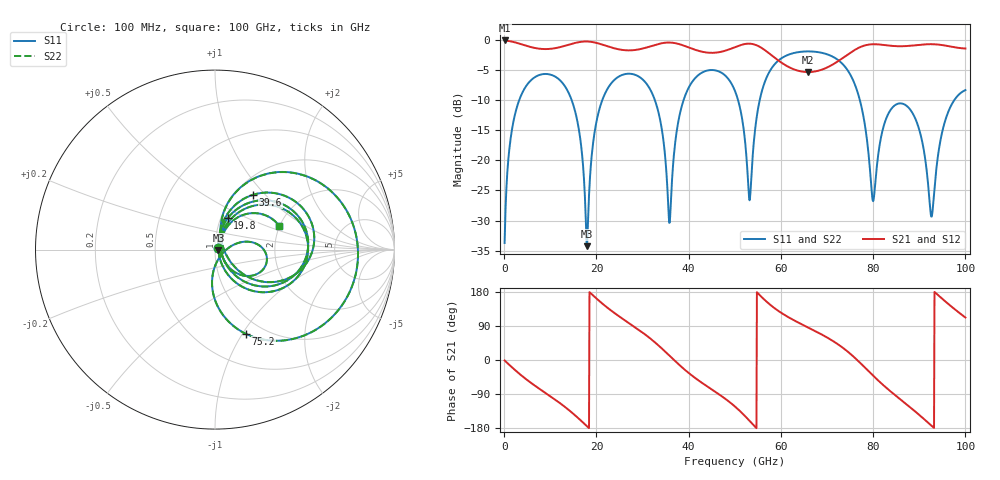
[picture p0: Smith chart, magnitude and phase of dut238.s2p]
! Touchstone file exported from HFSS 2026.1.0
!  File:  C:/ffzhzh/LocalFiles/Ansys_Project_Files/temp_train_TSV_RDL_238_1783666631_26216.aedt
!  Generated:  03:08:26 PM Jul 10, 2026
!  Design:  TSV_RDL
!  Project:  temp_train_TSV_RDL_238_1783666631_26216
! Variables:
!  h_bsmrdl = 4.98um
!  h_ox = 20um
!  h_rdl = 5um
!  h_sub = 51.48um
!  h_tmrdl = 2.28um
!  h_tsv = 51.48um
!  h_via = 3um
!  l_bsmrdl = 130.33um
!  l_sub = 3507.93um
!  l_tmrdl = 637.19um
!  m_sub = 200um
!  pitch = 55.15um
!  r_tsv = 9.5um
!  s_tmrdl = 10um
!  w_bsmrdl = 28.72um
!  w_sub = 500um
!  w_tmrdl = 27.34um
!  x_tsv_center1 = 650.86um
!  x_tsv_center2 = 809.91um
!  x_tsv_center3 = 1474.44um
!  x_tsv_center4 = 1633.49um
!  x_tsv_center5 = 2298.02um
!  x_tsv_center6 = 2457.07um
# GHz S MA R 50.000000
! Terminal data exported
! Port[1] = TM_RDL1_1_T1
! Port[2] = TM_RDL5_1_T1
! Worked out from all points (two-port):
!   1000 points, 100 MHz to 100 GHz, reference 50 ohm
!   highest |S21| = -0.15 dB at 100 MHz (marker M1); lowest = -5.4 dB at 65.9 GHz (marker M2)
!   |S21| within 3 dB of the highest: start of sweep to 58.89 GHz; 73.23 GHz to end of sweep
!   lowest |S11| = -34.2 dB at 17.9 GHz (marker M3), VSWR 1.04, Z = 51.9 - j0.383 ohm
!   |S11| at or under -10 dB: 14.62 GHz to 21.29 GHz (6.672 GHz wide, 37.2 % of centre); 32.66 GHz to 38.91 GHz (6.254 GHz wide, 17.5 % of centre); 77.11 GHz to 97.62 GHz (20.52 GHz wide, 23.5 % of centre) (the widest 3 of 5)
!   |S22| runs from -34.4 to -2.0 dB; largest |S21 - S12| = 2.7e-14
!   S11 on the Smith chart (normalised r, x): 100 MHz: 1.03, +0.02; 19.8 GHz: 1.08, +0.39; 39.6 GHz: 1.21, +0.85; 75.2 GHz: 0.83, -1.04; 100 GHz: 1.99, +0.61
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0.1  0.02064 34.4  0.9832 -1.2  0.9832 -1.2  0.02064 34.4
! Gamma 0 0 0 0
! Port Impedance 50 0 50 0
1.9  0.1989 61.9  0.9576 -21.5  0.9576 -21.5  0.1989 61.9
5.9  0.4632 26.5  0.8646 -61.1  0.8646 -61.1  0.4631 26.5
13  0.4197 -32.2  0.8838 -122.1  0.8838 -122.1  0.4197 -32.2
16.8  0.121 -64.5  0.9594 -161.6  0.9594 -161.6  0.1209 -64.7
17.9  0.01941 -11.0  0.9638 -174.1  0.9638 -174.1  0.01913 -11.0
19.8  0.1891 67.8  0.9426 164.6  0.9426 164.6  0.1891 67.9
27.1  0.5213 6.2  0.8137 97.1  0.8137 97.1  0.5214 6.2
33.4  0.2544 -46.2  0.9181 39.1  0.9181 39.1  0.2544 -46.3
35.9  0.03051 21.5  0.9448 10.8  0.9448 10.8  0.02979 21.8
39.6  0.3706 55.3  0.8725 -30.2  0.8725 -30.2  0.3706 55.4
50.1  0.3704 -29.3  0.8669 -123.4  0.8669 -123.4  0.3705 -29.2
53.2  0.04656 15.9  0.9248 -160.4  0.9248 -160.4  0.04764 16.0
56.9  0.4851 58.2  0.7977 153.9  0.7977 153.9  0.4853 58.1
65.9  0.7979 -4.5  0.5378 85.8  0.5378 85.8  0.7979 -4.6
66.7  0.7964 -9.1  0.5396 80.9  0.5396 80.9  0.7965 -9.2
75.2  0.4995 -69.9  0.7847 14.8  0.7847 14.8  0.4994 -70.0
80  0.04577 -37.2  0.9148 -41.4  0.9148 -41.4  0.04582 -37.0
83.4  0.2473 5.6  0.8919 -79.0  0.8919 -79.0  0.2476 5.4
89.1  0.2231 -40.8  0.8967 -135.7  0.8967 -135.7  0.2233 -41.1
92.7  0.03414 10.8  0.9157 -173.9  0.9157 -173.9  0.03341 10.6
100  0.3811 20.3  0.8433 112.0  0.8433 112.0  0.3813 20.1
